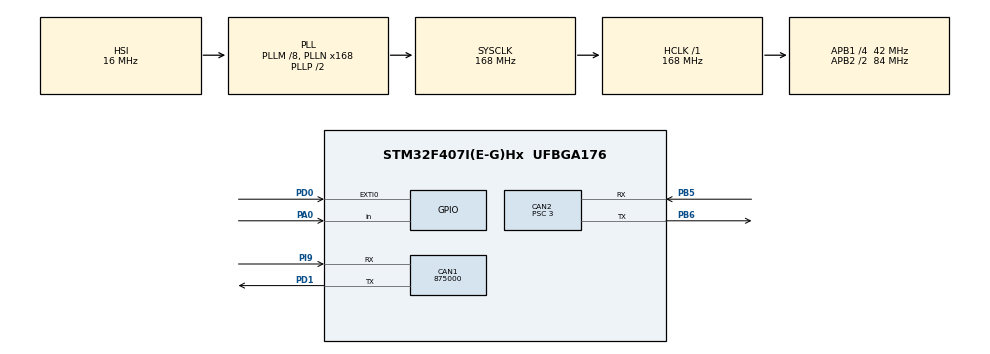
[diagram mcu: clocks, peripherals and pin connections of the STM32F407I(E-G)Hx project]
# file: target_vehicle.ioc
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CAN1.CalculateBaudRate=875000
CAN1.CalculateTimeBit=1142
CAN1.CalculateTimeQuantum=380.95238095238096
CAN2.BS1=CAN_BS1_10TQ
CAN2.BS2=CAN_BS2_3TQ
CAN2.CalculateBaudRate=1000000
CAN2.CalculateTimeBit=1000
CAN2.CalculateTimeQuantum=71.42857142857143
CAN2.Prescaler=3
Mcu.Family=STM32F4
Mcu.Name=STM32F407I(E-G)Hx
Mcu.Package=UFBGA176
NVIC.CAN1_RX0_IRQn=true\:0\:0\:false\:false\:true\:true\:true\:true
NVIC.CAN2_RX0_IRQn=true\:0\:0\:false\:false\:true\:true\:true\:true
NVIC.PriorityGroup=NVIC_PRIORITYGROUP_4
NVIC.TIM6_DAC_IRQn=true\:0\:0\:false\:false\:true\:true\:true\:true
PA0-WKUP.GPIO_PuPd=GPIO_PULLUP
PA0-WKUP.Signal=GPIO_Input
PA13.Mode=Serial_Wire
PA13.Signal=SYS_JTMS-SWDIO
PA14.Mode=Serial_Wire
PA14.Signal=SYS_JTCK-SWCLK
PB5.Mode=CAN_Activate
PB5.Signal=CAN2_RX
PB6.Mode=CAN_Activate
PB6.Signal=CAN2_TX
PD0.Signal=GPXTI0
PD1.Mode=CAN_Activate
PD1.Signal=CAN1_TX
PH0-OSC_IN.Mode=HSE-External-Oscillator
PH0-OSC_IN.Signal=RCC_OSC_IN
PH1-OSC_OUT.Mode=HSE-External-Oscillator
PH1-OSC_OUT.Signal=RCC_OSC_OUT
PI9.Mode=CAN_Activate
PI9.Signal=CAN1_RX
ProjectManager.HeapSize=0x200
ProjectManager.StackSize=0x400
ProjectManager.TargetToolchain=CMake
RCC.48MHZClocksFreq_Value=84000000
RCC.AHBFreq_Value=168000000
RCC.APB1CLKDivider=RCC_HCLK_DIV4
RCC.APB1Freq_Value=42000000
RCC.APB1TimFreq_Value=84000000
RCC.APB2CLKDivider=RCC_HCLK_DIV2
RCC.APB2Freq_Value=84000000
RCC.APB2TimFreq_Value=168000000
RCC.CortexFreq_Value=168000000
RCC.HCLKFreq_Value=168000000
RCC.HSE_VALUE=25000000
RCC.HSI_VALUE=16000000
RCC.LSE_VALUE=32768
RCC.PLLM=8
RCC.PLLN=168
RCC.SYSCLKFreq_VALUE=168000000
RCC.SYSCLKSource=RCC_SYSCLKSOURCE_PLLCLK
RCC.VCOOutputFreq_Value=336000000
VP_TIM6_VS_ClockSourceINT.Mode=Enable_Timer
board=custom

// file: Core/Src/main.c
/* USER CODE BEGIN Header */
/**
  ******************************************************************************
  * @file           : main.c
  * @brief          : Main program body
  ******************************************************************************
  * @attention
  *
  * Copyright (c) 2026 STMicroelectronics.
  * All rights reserved.
  *
  * This software is licensed under terms that can be found in the LICENSE file
  * in the root directory of this software component.
  * If no LICENSE file comes with this software, it is provided AS-IS.
  *
  ******************************************************************************
  */
/* USER CODE END Header */
#include "main.h"
#include "can.h"
#include "tim.h"
#include "gpio.h"

/* USER CODE BEGIN Includes */
#include "bsp_can.h"
#include "pid.h"
/* USER CODE END Includes */

/* USER CODE BEGIN PD */
extern CAN_HandleTypeDef hcan1;

/* 电调 ID 与反馈数组下标的对应关系（反馈帧 0x201 -> 下标 0，0x202 -> 下标 1） */
#define MOTOR_INDEX        0U      /* CAN1 上的 ID=1 -> motor_chassis[0]，按键调速 */
#define CAN2_M1_INDEX      0U      /* CAN2 上的 ID=1 -> motor_chassis_can2[0]，反转 */
#define CAN2_M2_INDEX      1U      /* CAN2 上的 ID=2 -> motor_chassis_can2[1]，正转 */

/* CAN2 上两个电机的目标转速 rpm，绝对值都是 900：
   ID=1 反转取负、ID=2 正转取正，这是各自的初始方向；
   跑起来之后每 MOTOR_FLIP_PERIOD_MS 由 can2_m1_dir / can2_m2_dir 翻符号。
   （C620 反馈的是电机轴转速，没过减速箱） */
#define CAN2_M1_TARGET_SPEED_RPM  -900.0f
#define CAN2_M2_TARGET_SPEED_RPM   900.0f

/* 速度环 PID 参数。控制周期 1ms，Ki 每周期累加一次 */
#define SPEED_PID_KP       5.0f
#define SPEED_PID_KI       0.01f
#define SPEED_PID_KD       0.0f
#define SPEED_PID_MAX_OUT  8000.0f    /* 输出限幅，约 9.8A */
#define SPEED_PID_MAX_IOUT 3000.0f    /* 积分限幅 */

/* 超过 100ms 没收到电调反馈就停机 */
#define FDB_TIMEOUT_MS     100U

/* CAN2 上 ID=2 的电机：每隔这么久自动翻转一次运行方向 */
#define MOTOR_FLIP_PERIOD_MS  10000U

/* USER CODE END PD */

/* USER CODE BEGIN PV */

static pid_type_def speed_pid;                          /* 速度环 PID */
static const fp32 speed_pid_param[3] = {
    SPEED_PID_KP, SPEED_PID_KI, SPEED_PID_KD
};

volatile fp32 speed_fdb    = 0.0f;   /* 反馈转速，Watch 里看这个 */
volatile fp32 give_current = 0.0f;   /* PID 算出的电流值 */
volatile fp32 TARGET_SPEED_RPM = 0.0f;   /* 类型改对，中断里要读，加 volatile */
static GPIO_PinState key_last = GPIO_PIN_SET;   /* 上一次按键电平，放 PV 区 */

/* ===== CAN2 上的两个电机：固定 ±900rpm，各自独立闭环 ===== */
static pid_type_def speed_pid_c2m1;      /* CAN2 的 ID=1，反转 */
static pid_type_def speed_pid_c2m2;      /* CAN2 的 ID=2，正转 */

volatile fp32 speed_fdb_c2m1    = 0.0f;
volatile fp32 speed_fdb_c2m2    = 0.0f;
volatile fp32 give_current_c2m1 = 0.0f;
volatile fp32 give_current_c2m2 = 0.0f;

/* ID=2 定时换向：当前方向(+1/-1)、上次翻转时刻、已翻转次数，Watch 里都能直接看 */
volatile int8_t   can2_m2_dir = 1;
volatile uint32_t can2_m2_last_flip_tick = 0;
volatile uint32_t can2_m2_flip_count = 0;

/* ID=1 定时换向，结构同上 */
volatile int8_t   can2_m1_dir = 1;
volatile uint32_t can2_m1_last_flip_tick = 0;
volatile uint32_t can2_m1_flip_count = 0;

/* USER CODE END PV */

void SystemClock_Config(void);

int main(void)
{

  /* MCU Configuration--------------------------------------------------------*/

  /* Reset of all peripherals, Initializes the Flash interface and the Systick. */
  HAL_Init();

  /* Configure the system clock */
  SystemClock_Config();

  /* Initialize all configured peripherals */
  MX_GPIO_Init();
  MX_CAN1_Init();
  MX_CAN2_Init();
  MX_TIM6_Init();
  /* USER CODE BEGIN 2 */

  can_filter_init();          /* 启动 CAN，不开滤波器/不 Start 电调收不到 */

  PID_init(&speed_pid, PID_POSITION, speed_pid_param,
           SPEED_PID_MAX_OUT, SPEED_PID_MAX_IOUT);

  /* CAN2 上两个电机，固定 ±900rpm，沿用同一组 PID 参数 */
  PID_init(&speed_pid_c2m1, PID_POSITION, speed_pid_param,
           SPEED_PID_MAX_OUT, SPEED_PID_MAX_IOUT);
  PID_init(&speed_pid_c2m2, PID_POSITION, speed_pid_param,
           SPEED_PID_MAX_OUT, SPEED_PID_MAX_IOUT);

  HAL_TIM_Base_Start_IT(&htim6);   /* 启动 1kHz 控制节拍，闭环在中断里跑 */

  /* USER CODE END 2 */

  /* Infinite loop */
  while (1)
  {

    /* USER CODE BEGIN 3 */
    GPIO_PinState key_now = HAL_GPIO_ReadPin(GPIOA, GPIO_PIN_0);

    /* 下降沿：上次是高(松开)，这次是低(按下) */
    if (key_last == GPIO_PIN_SET && key_now == GPIO_PIN_RESET)
    {
        HAL_Delay(20);                                  /* 消抖 */
        if (HAL_GPIO_ReadPin(GPIOA, GPIO_PIN_0) == GPIO_PIN_RESET)
        {
            TARGET_SPEED_RPM += 1000.0f;
        }
    }
    key_last = key_now;

    if (TARGET_SPEED_RPM > 5000.0f)
    {
        TARGET_SPEED_RPM = 0.0f;
    }

    HAL_Delay(10);

    /* CAN2 两个电机的闭环全在 TIM6 中断里跑，这里不再发指令：
       主循环 10ms 一拍跟 1kHz 中断抢发会让电流值打架。 */
  }
  /* USER CODE END 3 */
}

void SystemClock_Config(void)
{
  RCC_OscInitTypeDef RCC_OscInitStruct = {0};
  RCC_ClkInitTypeDef RCC_ClkInitStruct = {0};

  /** Configure the main internal regulator output voltage
  */
  __HAL_RCC_PWR_CLK_ENABLE();
  __HAL_PWR_VOLTAGESCALING_CONFIG(PWR_REGULATOR_VOLTAGE_SCALE1);

  /** Initializes the RCC Oscillators according to the specified parameters
  * in the RCC_OscInitTypeDef structure.
  */
  RCC_OscInitStruct.OscillatorType = RCC_OSCILLATORTYPE_HSI;
  RCC_OscInitStruct.HSIState = RCC_HSI_ON;
  RCC_OscInitStruct.HSICalibrationValue = RCC_HSICALIBRATION_DEFAULT;
  RCC_OscInitStruct.PLL.PLLState = RCC_PLL_ON;
  RCC_OscInitStruct.PLL.PLLSource = RCC_PLLSOURCE_HSI;
  RCC_OscInitStruct.PLL.PLLM = 8;
  RCC_OscInitStruct.PLL.PLLN = 168;
  RCC_OscInitStruct.PLL.PLLP = RCC_PLLP_DIV2;
  RCC_OscInitStruct.PLL.PLLQ = 4;
  if (HAL_RCC_OscConfig(&RCC_OscInitStruct) != HAL_OK)
  {
    Error_Handler();
  }

  /** Initializes the CPU, AHB and APB buses clocks
  */
  RCC_ClkInitStruct.ClockType = RCC_CLOCKTYPE_HCLK|RCC_CLOCKTYPE_SYSCLK
                              |RCC_CLOCKTYPE_PCLK1|RCC_CLOCKTYPE_PCLK2;
  RCC_ClkInitStruct.SYSCLKSource = RCC_SYSCLKSOURCE_PLLCLK;
  RCC_ClkInitStruct.AHBCLKDivider = RCC_SYSCLK_DIV1;
  RCC_ClkInitStruct.APB1CLKDivider = RCC_HCLK_DIV4;
  RCC_ClkInitStruct.APB2CLKDivider = RCC_HCLK_DIV2;

  if (HAL_RCC_ClockConfig(&RCC_ClkInitStruct, FLASH_LATENCY_5) != HAL_OK)
  {
    Error_Handler();
  }
}

/* USER CODE BEGIN 4 */

/**
  * @brief  TIM6 每 1ms 进一次这个回调，速度环闭环就在这里跑
  * @note   PID 要求控制周期固定，所以不能用 HAL_Delay 拼周期
  */
void HAL_TIM_PeriodElapsedCallback(TIM_HandleTypeDef *htim)
{
    if (htim == NULL || htim->Instance != TIM6)
    {
        return;
    }

    /* 掉线保护：反馈断了还继续算 PID，积分会一路饱和，总线恢复瞬间电机飞车。
       所以超时没收到反馈就清 PID、发 0 电流。 */
    /* ---- CAN1 掉线：ID=1 停机 ---- */
#if  1	/* CAN1 暂未接电机，整段禁用。接上时把 0 改成 1 */
	if (can_last_fdb_tick == 0U ||
        (HAL_GetTick() - can_last_fdb_tick) > FDB_TIMEOUT_MS)
    {
        PID_clear(&speed_pid);
        speed_fdb    = 0.0f;
        give_current = 0.0f;
        CAN_cmd_chassis(0, 0, 0, 0);
    }
    else
    {
        /* 取反馈转速 -> PID 算电流 -> 发给电调，闭环完成 */
        speed_fdb    = (fp32)motor_chassis[MOTOR_INDEX].speed_rpm;
        give_current = PID_calc(&speed_pid, speed_fdb, TARGET_SPEED_RPM);
        if(give_current <= 0)
        {
            give_current = 0 ;
        }
        CAN_cmd_chassis((int16_t)give_current, 0, 0, 0);
    }
#endif

    /* ---- CAN2 掉线：两个电机停机 ---- */
    if (can2_last_fdb_tick == 0U ||
        (HAL_GetTick() - can2_last_fdb_tick) > FDB_TIMEOUT_MS)
    {
        PID_clear(&speed_pid_c2m1);
        PID_clear(&speed_pid_c2m2);
        speed_fdb_c2m1    = 0.0f;
        speed_fdb_c2m2    = 0.0f;
        give_current_c2m1 = 0.0f;
        give_current_c2m2 = 0.0f;
        CAN_cmd_chassis_can2(0, 0, 0, 0);

        /* 排障：掉线时刷新 CAN2 硬件状态，Watch 里看 can2_lec / can2_tec */
        can2_msr = hcan2.Instance->MSR;
        can2_esr = hcan2.Instance->ESR;
        can2_lec = (uint8_t)((can2_esr >> 4) & 0x07U);
        can2_tec = (uint8_t)((can2_esr >> 16) & 0xFFU);
        can2_rec = (uint8_t)((can2_esr >> 8) & 0xFFU);
        return;
    }

    /* ---- ID=1：和 ID=2 一样定时换向 ---- */
    if (HAL_GetTick() - can2_m1_last_flip_tick >= MOTOR_FLIP_PERIOD_MS)
    {
        can2_m1_last_flip_tick = HAL_GetTick();
        can2_m1_dir = -can2_m1_dir;
        can2_m1_flip_count++;
        PID_clear(&speed_pid_c2m1);
    }

    /* ---- CAN2 的 ID=1：目标 ±900rpm，正负由 can2_m1_dir 决定 ---- */
    speed_fdb_c2m1    = (fp32)motor_chassis_can2[CAN2_M1_INDEX].speed_rpm;
    give_current_c2m1 = PID_calc(&speed_pid_c2m1, speed_fdb_c2m1,
                                 (fp32)can2_m1_dir * CAN2_M1_TARGET_SPEED_RPM);

    /* ---- ID=2：到点就把方向翻过来，初始方向不变 ----
       换向时清一次 PID：积分项里攒的还是上一个方向的值，
       不清的话反转会被它拖慢一段时间。 */
    if (HAL_GetTick() - can2_m2_last_flip_tick >= MOTOR_FLIP_PERIOD_MS)
    {
        can2_m2_last_flip_tick = HAL_GetTick();
        can2_m2_dir = -can2_m2_dir;
        can2_m2_flip_count++;
        PID_clear(&speed_pid_c2m2);
    }

    /* ---- CAN2 的 ID=2：目标 ±900rpm，正负由 can2_m2_dir 决定 ---- */
    speed_fdb_c2m2    = (fp32)motor_chassis_can2[CAN2_M2_INDEX].speed_rpm;
    give_current_c2m2 = PID_calc(&speed_pid_c2m2, speed_fdb_c2m2,
                                 (fp32)can2_m2_dir * CAN2_M2_TARGET_SPEED_RPM);

    /* 0x200 帧里第 1 组字节给 ID=1、第 2 组给 ID=2，其余留 0 */
    CAN_cmd_chassis_can2((int16_t)give_current_c2m1,
                         (int16_t)give_current_c2m2,
                         0, 0);
}

/* USER CODE END 4 */

void Error_Handler(void)
{
  __disable_irq();
  while (1)
  {
  }
}
